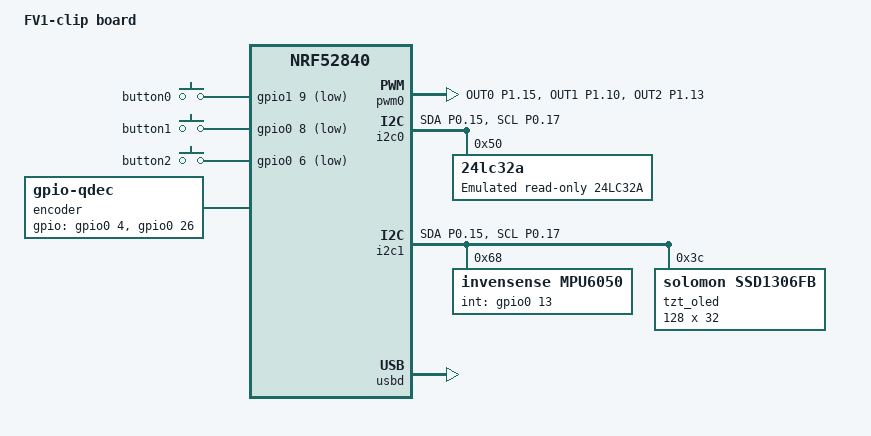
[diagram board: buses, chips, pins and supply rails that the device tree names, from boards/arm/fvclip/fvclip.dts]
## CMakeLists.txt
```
cmake_minimum_required(VERSION 3.20.0)

list(APPEND BOARD_ROOT ${CMAKE_CURRENT_LIST_DIR})
set(BOARD fvclip)

find_package(Zephyr HINTS $ENV{ZEPHYR_BASE})

project(fvctl)

target_sources(app PRIVATE
  fonts/creep.c
  src/main.c
  src/dsp.c
  src/disp.c
  src/serial.c
  src/eeprom.c)
```

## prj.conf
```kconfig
CONFIG_LOG=y
CONFIG_LOG_PRINTK=y

# We use TWIS 0
CONFIG_NRFX_TWIS0=y

CONFIG_ASSERT=y

CONFIG_RING_BUFFER=y
CONFIG_UART_INTERRUPT_DRIVEN=y

## Enable logging (and redirect printk to log output)
CONFIG_LOG=y
CONFIG_LOG_PRINTK=y
CONFIG_LOG_MODE_IMMEDIATE=y

## Free up UART
CONFIG_SERIAL=y
CONFIG_UART_CONSOLE=n
CONFIG_LOG_BACKEND_UART=n

## Enable logging on RTT
CONFIG_LOG_BACKEND_RTT=y
CONFIG_USE_SEGGER_RTT=y
CONFIG_SEGGER_RTT_BUFFER_SIZE_UP=65536
## Always get the latest logs, even if not read yet
CONFIG_LOG_BACKEND_RTT_MODE_OVERWRITE=y

CONFIG_REBOOT=n
# CONFIG_RESET_ON_FATAL_ERROR=n

CONFIG_PWM=y

# Enable USB for UART ROM transfers
CONFIG_SERIAL=y
CONFIG_UART_LINE_CTRL=y
CONFIG_USB_DEVICE_STACK=y
CONFIG_USB_DEVICE_PRODUCT="open-sesame"
CONFIG_USB_DEVICE_PID=0x0004
CONFIG_USB_DEVICE_INITIALIZE_AT_BOOT=n

CONFIG_USB_WORKQUEUE_STACK_SIZE=4096
CONFIG_THREAD_NAME=y

# display test
CONFIG_HEAP_MEM_POOL_SIZE=16384
CONFIG_LOG=y
CONFIG_DISPLAY=y

CONFIG_CHARACTER_FRAMEBUFFER=y

CONFIG_DEBUG=y
CONFIG_NRFX_PPI=y

CONFIG_INPUT=y
CONFIG_INPUT_MODE_SYNCHRONOUS=y

# -> PIXEL_FORMAT_MONO01
# SSD1306 doesn't support that format, but setting
# this config achieves the same thing.
CONFIG_SSD1306_REVERSE_MODE=y
```

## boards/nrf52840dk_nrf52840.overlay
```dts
&pinctrl {
	pwm0_default: pwm0_default {
		group1 {
			psels = <NRF_PSEL(PWM_OUT0, 0, 29)>,
				<NRF_PSEL(PWM_OUT1, 0, 30)>,
				<NRF_PSEL(PWM_OUT2, 0, 31)>;
			/delete-property/ nordic,invert;
		};
	};
};

&pwm0 {
	status = "okay";
	pinctrl-0 = <&pwm0_default>;
	/delete-property/ pinctrl-1;
	pinctrl-names = "default";
};

&uart0 {
	compatible = "nordic,nrf-uarte";
	current-speed = <115200>;
	status = "okay";
	hw-flow-control;
};

&i2c0 {
	compatible = "nordic,nrf-twis";
	status = "okay";

	/* pinctrl macros are waaaay too complicated. */
	sda-pin = <26>;
	scl-pin = <27>;

	eeprom:24lc32a@50 {
		label = "Emulated read-only 24LC32A";
		reg = <0x50>;
	};
};

/ {
	outputs {
		compatible = "gpio-noinit";
		gpio_s0		{gpios = < &gpio1 3 GPIO_ACTIVE_HIGH >;};
		gpio_s1 	{gpios = < &gpio1 4 GPIO_ACTIVE_HIGH >;};
		gpio_s2 	{gpios = < &gpio1 5 GPIO_ACTIVE_HIGH >;};
		gpio_ext	{gpios = < &gpio1 6 GPIO_ACTIVE_HIGH >;};
	};
	inputs {
		compatible = "gpio-noinit";
		gpio_clip {gpios = < &gpio1 7 GPIO_ACTIVE_LOW >;};
	};
	aliases {
		pwm-0 = &pwm0;
	};
};
```

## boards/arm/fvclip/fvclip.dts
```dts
/dts-v1/;
#include <nordic/nrf52840_qiaa.dtsi>
#include <dt-bindings/input/input-event-codes.h>

/ {
	model = "FV1-clip board";
	compatible = "nvl,fvclip";

	chosen {
		zephyr,sram = &sram0;
		zephyr,flash = &flash0;
		zephyr,code-partition = &slot0_partition;
		zephyr,display = &tzt_oled;
	};

	buttons {
		compatible = "gpio-keys";
		status = "okay";
		button0: button_0 {
			/* right */
			gpios = <&gpio1 9 (GPIO_PULL_UP | GPIO_ACTIVE_LOW)>;
			zephyr,code = <INPUT_KEY_0>;
		};
		button1: button_1 {
			/* mid */
			gpios = <&gpio0 8 (GPIO_PULL_UP | GPIO_ACTIVE_LOW)>;
			zephyr,code = <INPUT_KEY_1>;
		};
		button2: button_2 {
			/* left */
			gpios = <&gpio0 6 (GPIO_PULL_UP | GPIO_ACTIVE_LOW)>;
			zephyr,code = <INPUT_KEY_2>;
		};
	};

	encoder {
		compatible = "gpio-qdec";
		status = "okay";
		gpios = <&gpio0 4 (GPIO_PULL_UP | GPIO_ACTIVE_HIGH)>,
			<&gpio0 26 (GPIO_PULL_UP | GPIO_ACTIVE_HIGH)>;
		steps-per-period = <4>;
		zephyr,axis = <INPUT_REL_Y>;
		sample-time-us = <2000>;
		idle-timeout-ms = <200>;
	};

	outputs {
		compatible = "gpio-noinit";
		gpio_s0		{gpios = < &gpio1 2 GPIO_ACTIVE_HIGH >;};
		gpio_s1 	{gpios = < &gpio1 4 GPIO_ACTIVE_HIGH >;};
		gpio_s2 	{gpios = < &gpio1 6 GPIO_ACTIVE_HIGH >;};

		gpio_gain0 	{gpios = < &gpio1 0 GPIO_ACTIVE_HIGH >;};
		gpio_gain1 	{gpios = < &gpio0 24 GPIO_ACTIVE_HIGH >;};

		gpio_dsp_clk 	{gpios = < &gpio0 22 GPIO_ACTIVE_LOW >;};
		gpio_oled_pwr 	{gpios = < &gpio0 20 GPIO_ACTIVE_LOW >;};
		gpio_pa_pwr 	{gpios = < &gpio0 2 GPIO_ACTIVE_HIGH >;};
	};

	inputs {
		compatible = "gpio-noinit";
		gpio_chg {gpios = < &gpio0 12 (GPIO_PULL_UP | GPIO_ACTIVE_LOW) >;};
	};

	aliases {
		pwm-0 = &pwm0;
		sw0 = &button0;
		sw1 = &button1;
		sw2 = &button2;
		mcuboot-button0 = &button0;
		watchdog0 = &wdt0;
	};
};

&gpiote {
	status = "okay";
};

&gpio0 {
	status = "okay";
};

&gpio1 {
	status = "okay";
};

&pwm0 {
	status = "okay";
	pinctrl-0 = <&pwm0_default>;
	/delete-property/ pinctrl-1;
	pinctrl-names = "default";
};

&i2c0 {
	compatible = "nordic,nrf-twis";
	status = "okay";

	/* TODO: use pinctrl DT macros */
	pinctrl-0 = <&i2c1_default>;
	pinctrl-names = "default";

	eeprom:24lc32a@50 {
		label = "Emulated read-only 24LC32A";
		reg = <0x50>;
	};
};

&i2c1 {
	compatible = "nordic,nrf-twim";
	status = "okay";

	pinctrl-0 = <&i2c1_default>;
	pinctrl-names = "default";

	/* Necessary for SSD1306 driver */
	zephyr,concat-buf-size = <1024>;

	mpu6050@68 {
		compatible = "invensense,mpu6050";
		reg = <0x68>;
		status = "okay";
		int-gpios = <&gpio0 13 GPIO_ACTIVE_HIGH>;
	};

	tzt_oled: ssd1306@3c {
		compatible = "solomon,ssd1306fb";
		status = "okay";
		reg = <0x3c>;
		width = <128>;
		height = <32>;
		segment-offset = <0>;
		page-offset = <0>;
		display-offset = <0>;
		multiplex-ratio = <31>;
		/* segment-remap; */
		/* com-invdir; */
		com-sequential;
		prechargep = <0x22>;
	};
};

&flash0 {
	partitions {
		compatible = "fixed-partitions";
		#address-cells = <1>;
		#size-cells = <1>;

		boot_partition: partition@0 {
			label = "mcuboot";
			reg = <0x00000000 0x0000C000>;
		};
		slot0_partition: partition@c000 {
			label = "image-0";
			reg = <0x0000C000 0x00076000>;
		};
		slot1_partition: partition@82000 {
			label = "image-1";
			reg = <0x00082000 0x00076000>;
		};

		/*
		 * The flash starting at 0x000f8000 and ending at
		 * 0x000fffff is reserved for use by the application.
		 */

		/*
		 * Storage partition will be used by FCB/LittleFS/NVS
		 * if enabled.
		 */
		storage_partition: partition@f8000 {
			label = "storage";
			reg = <0x000f8000 0x00008000>;
		};
	};
};

zephyr_udc0: &usbd {
	compatible = "nordic,nrf-usbd";
	status = "okay";

	cdc_acm_uart0: cdc_acm_uart0 {
		compatible = "zephyr,cdc-acm-uart";
	};
};

&pinctrl {
	i2c0_default: i2c0_default {
		group1 {
			psels = <NRF_PSEL(TWIM_SDA, 0, 29)>,
				<NRF_PSEL(TWIM_SCL, 0, 31)>;
			bias-pull-up;
		};
	};

	i2c1_default: i2c1_default {
		group1 {
			psels = <NRF_PSEL(TWIM_SDA, 0, 15)>,
				<NRF_PSEL(TWIM_SCL, 0, 17)>;
			bias-pull-up;
		};
	};

	pwm0_default: pwm0_default {
		group1 {
			/* POT0 and POT1 are swapped on the DSP board */
			psels = <NRF_PSEL(PWM_OUT0, 1, 15)>,
				<NRF_PSEL(PWM_OUT1, 1, 10)>,
				<NRF_PSEL(PWM_OUT2, 1, 13)>;
			/delete-property/ nordic,invert;
		};
	};
};
```

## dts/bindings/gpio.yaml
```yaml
# Needed because DTS rude goldberg machine doesn't work if no compatible is set.
# This way we can use the DT_xx macros, without having driver code messing with
# our pins at startup.

description: GPIO GeNeRaL PuRpOsE binding

compatible: "gpio-noinit"

include: base.yaml

child-binding:
    description: GPIO No-init child node
    properties:
       gpios:
          type: phandle-array
          required: true
       label:
          type: string
          description: Descriptive name of the IO pin
```

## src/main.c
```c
#include <errno.h>
#include <string.h>
#include <stdio.h>

#include <zephyr/kernel.h>
#include <zephyr/device.h>
#include <zephyr/input/input.h>
#include <zephyr/sys/ring_buffer.h>

#include <zephyr/drivers/gpio.h>
#include <zephyr/drivers/uart.h>

#include <zephyr/usb/usbd.h>
#include <zephyr/usb/usb_device.h>

#include "dsp.h"
#include "eeprom.h"
#include "serial.h"
#include "utils.h"
#include "view.h"

#include <zephyr/logging/log.h>
LOG_MODULE_REGISTER(main, 3);

static struct viewstate vs = {.program = 07,
.active = 1,
.values[0] = 10,
.values[1] = 20,
.values[2] = 30,
.names = {"par 0", "par 1", "par 2"}};

static void init_pa(void)
{
	uint32_t out_flags = GPIO_OUTPUT;

	/* enable output audio driver */
	gpio_pin_configure(PORT_PIN(outputs, gpio_pa_pwr), out_flags);
	gpio_pin_set(PORT_PIN(outputs, gpio_pa_pwr), 0);
}

static void next_program(int increment)
{
	vs.program += increment;
	if (vs.program > 99) vs.program = 99;
	if (vs.program < 0) vs.program = 0;

	dsp_select_program(vs.program);
}

static void next_param(void)
{
	vs.active++;
	/* overflow's a good thing, right? */
	if (vs.active > 2) vs.active = 0xFF;
}

static void tune_param(int increment)
{
	if (vs.active == 0xFF) return; /* no active param */

	int8_t *param = &vs.values[vs.active];

	*param += increment;
	if (*param > 99) *param = 99;
	if (*param < 0) *param = 0;

	dsp_set_pwm_channel(vs.active, *param * 10);
}

static void input_cb(struct input_event *evt)
{
	LOG_DBG("%s: sync %u type %u code 0x%x value %d", __func__,
		evt->sync, evt->type, evt->code, evt->value);

	/* encoder */
	if (evt->code == INPUT_REL_Y) {
		tune_param(evt->value);
	}

	/* right */
	if (evt->code == INPUT_KEY_0 && evt->value) {
		next_program(+1);
	}

	/* left */
	if (evt->code == INPUT_KEY_2 && evt->value) {
		next_program(-1);
	}

	/* mid */
	if (evt->code == INPUT_KEY_1 && evt->value) {
		next_param();
	}

	draw_view(&vs);
}

/* Invoke callback for all input devices */
INPUT_CALLBACK_DEFINE(NULL, input_cb);

void main(void)
{
	if (usb_enable(NULL)) {
		LOG_ERR("failed to enable USB");
		return;
	}

	LOG_INF("Bootup");

	init_dsp();
	init_pa();
	serial_init();

	view_init();
	draw_view(&vs);
}
```

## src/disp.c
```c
#include <zephyr/kernel.h>
#include <zephyr/device.h>
#include <zephyr/drivers/gpio.h>
#include <zephyr/display/cfb.h>
#include <stdio.h>

#include "view.h"
#include "utils.h"

#include <zephyr/logging/log.h>
LOG_MODULE_REGISTER(disp, 3);

void view_init(void)
{
	const struct device *dev =
		DEVICE_DT_GET(DT_CHOSEN(zephyr_display));

	if (!device_is_ready(dev)) {
		LOG_ERR("Device %s not ready", dev->name);
		k_oops();
	}

	if (display_set_pixel_format(dev, PIXEL_FORMAT_MONO10) != 0) {
		LOG_ERR("Failed to set required pixel format");
		k_oops();
	}

	if (cfb_framebuffer_init(dev)) {
		LOG_ERR("Framebuffer initialization failed!");
		k_oops();
	}

	display_blanking_off(dev);

	printk("VIEW INIT OK\n");
}

enum {
	FONT_TINY = 0,
	FONT_SMALL,
	FONT_MEDIUM,
	FONT_LARGE
};

void draw_view(struct viewstate *state)
{
	LOG_DBG("");
	char str[20];
	const struct device *dev =
		DEVICE_DT_GET(DT_CHOSEN(zephyr_display));

	cfb_framebuffer_clear(dev, false);

	/* Draw program ID */
	cfb_framebuffer_set_font(dev, FONT_LARGE);
	sprintf(str, "%02d", state->program);
	cfb_print(dev, str, 0, 0);

	/* Draw params */
	cfb_framebuffer_set_font(dev, FONT_TINY);
	for (int i=0; i<3; i++) {
		sprintf(str, "%s: %02u", &state->names[i][0], state->values[i]);
		cfb_draw_text(dev, str, 50, i * 10);
	}

	uint8_t w, h;
	cfb_get_font_size(dev, FONT_TINY, &w, &h);

	/* invert active param */
	if (state->active != 0xFF) {
		cfb_invert_area(dev, 50, state->active * 10, 128 - 50, h-4);
	}

	/* Flush buffer to display */
	cfb_framebuffer_finalize(dev);

	LOG_DBG("updated");
}

static int enable_disp(void)
{
	/* Power-cycle the display and its driver */
	gpio_pin_configure(PORT_PIN(outputs, gpio_oled_pwr), GPIO_OUTPUT);
	gpio_pin_set(PORT_PIN(outputs, gpio_oled_pwr), 1);

	k_msleep(50);

	gpio_pin_configure(PORT_PIN(outputs, gpio_oled_pwr), GPIO_OUTPUT);
	gpio_pin_set(PORT_PIN(outputs, gpio_oled_pwr), 0);

	k_msleep(50);

	return 0;
}

/* power the display before driver inits */
#define DISPLAY_POWER_INIT_PRIORITY 70

BUILD_ASSERT(CONFIG_DISPLAY_INIT_PRIORITY > DISPLAY_POWER_INIT_PRIORITY);

/* would the `reset` dts property do the trick? */
SYS_INIT(enable_disp, POST_KERNEL, DISPLAY_POWER_INIT_PRIORITY);
```

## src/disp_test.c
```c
/*
 * Copyright (c) 2018 PHYTEC Messtechnik GmbH
 *
 * SPDX-License-Identifier: Apache-2.0
 */

#include <zephyr/kernel.h>
#include <zephyr/device.h>
#include <zephyr/display/cfb.h>
#include <stdio.h>

int disp_test(void)
{
	const struct device *dev;
	uint16_t rows;
	uint8_t ppt;
	uint8_t font_width;
	uint8_t font_height;

	dev = DEVICE_DT_GET(DT_CHOSEN(zephyr_display));
	if (!device_is_ready(dev)) {
		printf("Device %s not ready\n", dev->name);
		return 0;
	}

	if (display_set_pixel_format(dev, PIXEL_FORMAT_MONO10) != 0) {
		printf("Failed to set required pixel format\n");
		return 0;
	}

	printf("Initialized %s\n", dev->name);

	if (cfb_framebuffer_init(dev)) {
		printf("Framebuffer initialization failed!\n");
		return 0;
	}

	cfb_framebuffer_clear(dev, true);

	display_blanking_off(dev);

	rows = cfb_get_display_parameter(dev, CFB_DISPLAY_ROWS);
	ppt = cfb_get_display_parameter(dev, CFB_DISPLAY_PPT);

	for (int idx = 0; idx < 42; idx++) {
		if (cfb_get_font_size(dev, idx, &font_width, &font_height)) {
			break;
		}
		cfb_framebuffer_set_font(dev, idx);
		printf("font width %d, font height %d\n",
		       font_width, font_height);
	}

	printf("x_res %d, y_res %d, ppt %d, rows %d, cols %d\n",
	       cfb_get_display_parameter(dev, CFB_DISPLAY_WIDTH),
	       cfb_get_display_parameter(dev, CFB_DISPLAY_HEIGH),
	       ppt,
	       rows,
	       cfb_get_display_parameter(dev, CFB_DISPLAY_COLS));

	while (1) {
		for (int i = 0; i < rows; i++) {
			cfb_framebuffer_clear(dev, false);
			if (cfb_print(dev,
				      "0123456789mMgj!\"§$%&/()=",
				      0, i * ppt)) {
				printf("Failed to print a string\n");
				continue;
			}

			cfb_framebuffer_finalize(dev);
#if defined(CONFIG_ARCH_POSIX)
			k_sleep(K_MSEC(100));
#endif
		}
	}
	return 0;
}
```

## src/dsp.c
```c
#include <zephyr/kernel.h>
#include <zephyr/device.h>
#include <zephyr/sys/ring_buffer.h>

#include <zephyr/drivers/gpio.h>
#include <zephyr/drivers/pwm.h>

#include <nrfx_ppi.h>
#include <nrfx_gpiote.h>

#include "dsp.h"
#include "utils.h"
#include "eeprom.h"
#include "rom.h"

#include <zephyr/logging/log.h>
LOG_MODULE_REGISTER(dsp, 4);

#define FV1_PGM_SIZE 512
static uint8_t programs[10][FV1_PGM_SIZE];
static uint8_t active_id;

enum {
	PGM_BUILTIN = 0,
	PGM_EXTERNAL,
};

static void setup_dsp_clock(void)
{
	#define FVCLKPIN 22	/* P0.22 -> DSP GP5 -> FV1 X1 */
	#define MYTIMER NRF_TIMER3 /* Hopefully free? */
	#define CLK_HP_US 26   /* ~19kHz TODO: increase */
	#define GPIOTE_CH_INVALID 0xFF
	#define PPI_CH_INVALID 0xFF

	/* Use TIMER + PPI + GPIOTE to synthesize a 48kHz clock on DSP GP5. We
	 * have to play ball and use the HAL allocation fns for PPI / GPIOTE
	 * since we're running in an RTOS.
	 */

	/* step 1: configure TIMER */
	MYTIMER->BITMODE = 0;           /* 16-bit width */
	MYTIMER->PRESCALER = 4;         /* 1 MHz - 1 us */
	MYTIMER->MODE = 0;              /* Timer mode */
	MYTIMER->SHORTS = 1 << 0; /* CC[0] resets the timer value */
	MYTIMER->CC[0] = CLK_HP_US; /* one tick = half clock cycle */

	/* step 2: configure GPIOTE */
	uint8_t gch = GPIOTE_CH_INVALID;
	uint32_t err = nrfx_gpiote_channel_alloc(&gch);
	__ASSERT_NO_MSG(err == NRFX_SUCCESS);
	__ASSERT_NO_MSG(gch != GPIOTE_CH_INVALID);
	NRF_GPIOTE->CONFIG[gch] = 3; /* Task mode */
	NRF_GPIOTE->CONFIG[gch] |= FVCLKPIN << 8;
	NRF_GPIOTE->CONFIG[gch] |= 0 << 13; /* Port 0 (line not necessary for P0) */
	NRF_GPIOTE->CONFIG[gch] |= 3 << 16; /* Toggle pin on TASKS_OUT */
	NRF_GPIOTE->CONFIG[gch] |= 0 << 20; /* Initial pin value is LOW */

	/* step 3: configure PPI link */
	uint8_t pch = PPI_CH_INVALID;
	err = nrfx_ppi_channel_alloc(&pch);
	__ASSERT_NO_MSG(err == NRFX_SUCCESS);
	__ASSERT_NO_MSG(pch != PPI_CH_INVALID);

	NRF_PPI->CH[pch].EEP = (uint32_t)&MYTIMER->EVENTS_COMPARE[0];
	NRF_PPI->CH[pch].TEP = (uint32_t)&NRF_GPIOTE->TASKS_OUT[gch];
	NRF_PPI->CHENSET = 1 << pch;

	/* step 4: start the timer and output clock on pin */
	MYTIMER->TASKS_CLEAR = 1;
	MYTIMER->TASKS_START = 1;
}

static void init_gpios(void)
{
	uint32_t out_flags = GPIO_OUTPUT;

	/* configure FV-1 program selector pins */
	gpio_pin_configure(PORT_PIN(outputs, gpio_s0), out_flags);
	gpio_pin_configure(PORT_PIN(outputs, gpio_s1), out_flags);
	gpio_pin_configure(PORT_PIN(outputs, gpio_s2), out_flags);
}

void dsp_set_pwm_channel(uint8_t ch, uint16_t val)
{
	const struct device *pwm_dev = DEVICE_DT_GET(DT_ALIAS(pwm_0));
	uint32_t period = 1024;	/* 10-bit DAC */

	val = MIN(val, period);
	ch = MIN(ch, 2);

	pwm_set(pwm_dev, ch, PWM_NSEC(period * 10), PWM_NSEC(val * 10), 0);
	LOG_DBG("set pwm[%d]: %d", ch, val);
}

static void init_pwm(void)
{
	dsp_set_pwm_channel(0, 0);
	dsp_set_pwm_channel(1, 0);
	dsp_set_pwm_channel(2, 0);
}

void dsp_set_pot_values(struct ring_buf *ringbuf, uint16_t len)
{
	char tmp[6] = {0};

	len = MIN(len, sizeof(tmp));
	ring_buf_get(ringbuf, tmp, len);

	__ASSERT(len == 6, "wrong length");

	dsp_set_pwm_channel(0, (tmp[0] << 8) + tmp[1]);
	dsp_set_pwm_channel(1, (tmp[2] << 8) + tmp[3]);
	dsp_set_pwm_channel(2, (tmp[4] << 8) + tmp[5]);

	LOG_HEXDUMP_DBG(tmp, sizeof(tmp), "pot values");
}

static void select_rom_slot(uint8_t id)
{
	if (id > 7) {
		LOG_ERR("Program ID out of bounds (> 7)");
		return;
	}

	LOG_INF("select program %u", id);
	gpio_pin_set(PORT_PIN(outputs, gpio_s0), id & 1);
	gpio_pin_set(PORT_PIN(outputs, gpio_s1), id & 2);
	gpio_pin_set(PORT_PIN(outputs, gpio_s2), id & 4);
}

static inline void pad_program(uint8_t * rom_addr, uint16_t pad_bytes)
{
	if (pad_bytes == 0) {
		LOG_INF("skip padding");
		return;
	}

	uint8_t * end_addr = rom_addr + pad_bytes;
	uint8_t nop[4] = {0x0, 0x0, 0x0, 0x11};

	while (rom_addr < end_addr) {
		memcpy(rom_addr, nop, sizeof(nop));
		rom_addr += 4;
	}
	LOG_INF("padded %u bytes", pad_bytes);
}

static void load_program(uint8_t * data)
{
	/* This ID shuffling is just make the FV-1 read the new ROM */
	uint8_t id = active_id ? 0 : 1;
	active_id = id;

	LOG_INF("loading %p", (void*)data);

	/* Tell EEPROM emulator to use the new bank */
	init_eeprom(data, FV1_PGM_SIZE);

	/* Trigger a reload from the FV-1 */
	select_rom_slot(active_id);
	LOG_INF("program downloaded");
	/* That's not really true, it's downloaded later over I2C */
}

void dsp_load_from_serial(struct ring_buf *ringbuf, uint16_t len)
{
	/* Saturate length to dest buffer */
	len = MIN(len, FV1_PGM_SIZE);

	/* first byte is destination slot */
	uint8_t index;
	ring_buf_get(ringbuf, &index, 1);
	__ASSERT_NO_MSG(index < 10);

	/* TODO: protect with sem/mutex */
	uint8_t *program = &programs[index][0];

	/* TODO: add two opcodes:
	 * - load-raw: load raw program data as current program
	 * - load: load prog, with metadata:
	 *   - parameter names
	 *   - parameter default values
	 *   - program name
	 *   - destination slot
	 */
	LOG_DBG("store ringbuf idx %u len %u splen %u", index, len, FV1_PGM_SIZE);
	ring_buf_get(ringbuf, program, len);
	pad_program(&program[len], FV1_PGM_SIZE - len);

	load_program(program);

	LOG_HEXDUMP_DBG(program, FV1_PGM_SIZE, "RAW ROM");
}

void dsp_select_program(uint8_t id)
{
	if (id > 9) return;

	load_program(&programs[id][0]);
}

static void load_default_programs(void)
{
	memcpy(&programs[0][0], samples_00, FV1_PGM_SIZE);
	memcpy(&programs[1][0], samples_01, FV1_PGM_SIZE);
	memcpy(&programs[2][0], samples_02, FV1_PGM_SIZE);
	memcpy(&programs[3][0], samples_03, FV1_PGM_SIZE);
	memcpy(&programs[4][0], samples_04, FV1_PGM_SIZE);
	memcpy(&programs[5][0], samples_05, FV1_PGM_SIZE);
	memcpy(&programs[6][0], samples_06, FV1_PGM_SIZE);
	memcpy(&programs[7][0], samples_07, FV1_PGM_SIZE);
}

void init_dsp(void)
{
	LOG_DBG("");

	load_default_programs();

	init_pwm();
	init_gpios();

	init_i2c();

	/* prepare the ROM buffer that the FV1 will read on boot */
	load_program((uint8_t *)samples_00);

	setup_dsp_clock();
	k_msleep(50);

	LOG_INF("DSP init ok");
}
```

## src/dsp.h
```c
#ifndef DSP_H_
#define DSP_H_

void init_dsp(void);
void dsp_load_from_serial(struct ring_buf *ringbuf, uint16_t len);
void dsp_set_pot_values(struct ring_buf *ringbuf, uint16_t len);
void dsp_select_program(uint8_t id);
void dsp_set_pwm_channel(uint8_t ch, uint16_t val);

#endif // DSP_H_
```

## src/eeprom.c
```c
#include <zephyr/device.h>
#include <nrfx_twis.h>

#include "eeprom.h"

#include <zephyr/logging/log.h>
LOG_MODULE_REGISTER(eeprom, 4);

struct fakerom {
	uint16_t addr;
	uint16_t size;
	uint8_t* data;
};

static struct fakerom rom;

/* Should match master's buffer size */
static unsigned char twis_rx_buffer[8];
const nrfx_twis_t twis_instance = NRFX_TWIS_INSTANCE(0);

void i2c_set_tx(uint8_t *buf, uint16_t len)
{
	LOG_DBG("set TX: buf %p len %u", (void*)buf, len);
	(void)nrfx_twis_tx_prepare(&twis_instance, buf, len);
}

static void twis_event_handler(nrfx_twis_evt_t const *const p_event)
{
	switch (p_event->type) {

	case NRFX_TWIS_EVT_READ_REQ:
		/* This case shouldn't be needed at all. It is only called if no
		 * buffers are ready when a read request comes in.
		 */
		if (p_event->data.buf_req) {
			/* When we get here, it's too late, FV1 will have failed to read the
			 * program and will just hang until the next transaction. */
			LOG_ERR("Ran out of TX data, reset addr to 0x00");
			i2c_set_tx(rom.data, rom.size);
		}
		break;

	case NRFX_TWIS_EVT_READ_DONE:
		LOG_DBG("TWIS READ done (%u bytes)", p_event->data.tx_amount);
		break;

	case NRFX_TWIS_EVT_WRITE_REQ:
		/* Ditto with READ_REQ. */
		if (p_event->data.buf_req) {
			(void)nrfx_twis_rx_prepare(&twis_instance,
						   twis_rx_buffer,
						   sizeof(twis_rx_buffer));
		}
		break;

	case NRFX_TWIS_EVT_WRITE_DONE:
		LOG_DBG("TWIS WRITE done (%u bytes)", p_event->data.rx_amount);
		break;

	case NRFX_TWIS_EVT_READ_ERROR:
		LOG_DBG("TWIS READ ERROR");
		break;

	case NRFX_TWIS_EVT_WRITE_ERROR:
		LOG_DBG("TWIS WRITE ERROR");
		break;

	case NRFX_TWIS_EVT_GENERAL_ERROR:
		LOG_DBG("TWIS GENERAL ERROR");
		break;

	default:
		LOG_ERR("Unhandled TWI event");
		break;
	}
}

void init_i2c()
{
	nrfx_twis_config_t twis_config;

	memset(&twis_config, 0, sizeof(twis_config));

	twis_config.addr[0] = DT_REG_ADDR(DT_NODELABEL(eeprom));

	/* TODO: don't hardcode values, use pinctrl + DT macros */
	twis_config.scl_pin = 31;
	twis_config.scl_pull = NRF_GPIO_PIN_PULLUP;

	twis_config.sda_pin = 29;
	twis_config.sda_pull = NRF_GPIO_PIN_PULLUP;

	twis_config.interrupt_priority = DT_IRQ(DT_NODELABEL(i2c0), priority);

	LOG_DBG("I2C Slave: ADDR: 0x%x, SCL: %u, SDA: %u, int_pri: %u",
	       twis_config.addr[0], twis_config.scl_pin, twis_config.sda_pin, twis_config.interrupt_priority);

	if (nrfx_twis_init(&twis_instance, &twis_config, twis_event_handler) == NRFX_SUCCESS) {
		LOG_DBG("nrfx TWIS initialized.");
	} else {
		LOG_DBG("failed initializing TWIS");
	}

	IRQ_CONNECT(DT_IRQN(DT_NODELABEL(i2c0)),
		    DT_IRQ(DT_NODELABEL(i2c0), priority),
		    nrfx_isr, nrfx_twis_0_irq_handler, 0);

	nrfx_twis_enable(&twis_instance);

	/* RX buffer always points to the same thing. */
	(void)nrfx_twis_rx_prepare(&twis_instance, twis_rx_buffer, sizeof(twis_rx_buffer));
}

void init_eeprom(uint8_t *buf, uint16_t size)
{
	rom.addr = 0;
	rom.size = size;
	rom.data = buf;

	/* Make the next read request read from the first EEPROM address. */
	i2c_set_tx(rom.data, rom.size);

	LOG_INF("eeprom init ok");
}
```

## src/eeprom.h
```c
#ifndef EEPROM_H_
#define EEPROM_H_

void init_i2c(void);
void init_eeprom(uint8_t *buf, uint16_t size);

#endif // EEPROM_H_
```

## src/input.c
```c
#include <zephyr/kernel.h>
#include <zephyr/device.h>
#include <zephyr/input/input.h>

#include "view.h"

#include <zephyr/logging/log.h>
LOG_MODULE_REGISTER(in, 4);

static struct viewstate vs = {.program = 07,
.active = 1,
.values[0] = 10,
.values[1] = 20,
.values[2] = 30,
.names = {"par 0", "par 1", "par 2"}};

static void encoder_cb(struct input_event *evt)
{
	/* input_app: encoder_cb: sync 1 type 2 code 0x1 value 1
	 * -> value = -1 in opposite direction
	 */
	LOG_ERR("%s: sync %u type %u code 0x%x value %d", __func__,
		evt->sync, evt->type, evt->code, evt->value);

	vs.program += evt->value;
	if (vs.program > 99) vs.program = 99;
	if (vs.program < 0) vs.program = 0;

	draw_view(&vs);
}

INPUT_CALLBACK_DEFINE(DEVICE_DT_GET(DT_PATH(encoder)), encoder_cb);

static void button_cb(struct input_event *evt)
{
	LOG_ERR("%s: sync %u type %u code 0x%x value %d", __func__,
		evt->sync, evt->type, evt->code, evt->value);

	/* vs.program += evt->value; */
	/* if (vs.program > 99) vs.program = 99; */
	/* if (vs.program < 0) vs.program = 0; */

	/* draw_view(&vs); */
}

INPUT_CALLBACK_DEFINE(DEVICE_DT_GET(DT_PATH(buttons)), button_cb);
```

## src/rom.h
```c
#ifndef ROM_H_
#define ROM_H_

const uint8_t samples_00[] = {
0x80,0x20,0x00,0x11,
0x40,0x00,0x00,0x12,
0x40,0x00,0x02,0x84,
0x00,0x00,0x00,0x02,
0x40,0x00,0x02,0xA4,
0x00,0x02,0x00,0x22,
0x06,0x40,0x00,0x14,
0x00,0x40,0x00,0x34,
0x00,0x04,0x00,0x42,
0x14,0x40,0x00,0x14,
0x10,0x40,0x00,0x34,
0xA4,0x40,0x00,0x14,
0x20,0x44,0x00,0x54,
0x00,0x00,0x02,0xC6,
0x04,0x42,0x00,0x34,
0x00,0x42,0x00,0x54,
0x00,0x04,0x00,0x42,
0x14,0x42,0x00,0x34,
0x10,0x42,0x00,0x54,
0xA4,0x40,0x00,0x14,
0x20,0x44,0x00,0x54,
0x00,0x00,0x02,0xE6,
0x40,0x00,0x02,0x04,
0x10,0x00,0xF0,0x0D,
0x01,0x47,0x04,0x05,
0x40,0x00,0x04,0x06,
0x00,0x00,0x00,0x86,
0x00,0x00,0x00,0x11,
0x00,0x00,0x00,0x11,
0x00,0x00,0x00,0x11,
0x00,0x00,0x00,0x11,
0x00,0x00,0x00,0x11,
0x00,0x00,0x00,0x11,
0x00,0x00,0x00,0x11,
0x00,0x00,0x00,0x11,
0x00,0x00,0x00,0x11,
0x00,0x00,0x00,0x11,
0x00,0x00,0x00,0x11,
0x00,0x00,0x00,0x11,
0x00,0x00,0x00,0x11,
0x00,0x00,0x00,0x11,
0x00,0x00,0x00,0x11,
0x00,0x00,0x00,0x11,
0x00,0x00,0x00,0x11,
0x00,0x00,0x00,0x11,
0x00,0x00,0x00,0x11,
0x00,0x00,0x00,0x11,
0x00,0x00,0x00,0x11,
0x00,0x00,0x00,0x11,
0x00,0x00,0x00,0x11,
0x00,0x00,0x00,0x11,
0x00,0x00,0x00,0x11,
0x00,0x00,0x00,0x11,
0x00,0x00,0x00,0x11,
0x00,0x00,0x00,0x11,
0x00,0x00,0x00,0x11,
0x00,0x00,0x00,0x11,
0x00,0x00,0x00,0x11,
0x00,0x00,0x00,0x11,
0x00,0x00,0x00,0x11,
0x00,0x00,0x00,0x11,
0x00,0x00,0x00,0x11,
0x00,0x00,0x00,0x11,
0x00,0x00,0x00,0x11,
0x00,0x00,0x00,0x11,
0x00,0x00,0x00,0x11,
0x00,0x00,0x00,0x11,
0x00,0x00,0x00,0x11,
0x00,0x00,0x00,0x11,
0x00,0x00,0x00,0x11,
0x00,0x00,0x00,0x11,
0x00,0x00,0x00,0x11,
0x00,0x00,0x00,0x11,
0x00,0x00,0x00,0x11,
0x00,0x00,0x00,0x11,
0x00,0x00,0x00,0x11,
0x00,0x00,0x00,0x11,
0x00,0x00,0x00,0x11,
0x00,0x00,0x00,0x11,
0x00,0x00,0x00,0x11,
0x00,0x00,0x00,0x11,
0x00,0x00,0x00,0x11,
0x00,0x00,0x00,0x11,
0x00,0x00,0x00,0x11,
0x00,0x00,0x00,0x11,
0x00,0x00,0x00,0x11,
0x00,0x00,0x00,0x11,
0x00,0x00,0x00,0x11,
0x00,0x00,0x00,0x11,
0x00,0x00,0x00,0x11,
0x00,0x00,0x00,0x11,
0x00,0x00,0x00,0x11,
0x00,0x00,0x00,0x11,
0x00,0x00,0x00,0x11,
0x00,0x00,0x00,0x11,
0x00,0x00,0x00,0x11,
0x00,0x00,0x00,0x11,
0x00,0x00,0x00,0x11,
0x00,0x00,0x00,0x11,
0x00,0x00,0x00,0x11,
0x00,0x00,0x00,0x11,
0x00,0x00,0x00,0x11,
0x00,0x00,0x00,0x11,
0x00,0x00,0x00,0x11,
0x00,0x00,0x00,0x11,
0x00,0x00,0x00,0x11,
0x00,0x00,0x00,0x11,
0x00,0x00,0x00,0x11,
0x00,0x00,0x00,0x11,
0x00,0x00,0x00,0x11,
0x00,0x00,0x00,0x11,
0x00,0x00,0x00,0x11,
0x00,0x00,0x00,0x11,
0x00,0x00,0x00,0x11,
0x00,0x00,0x00,0x11,
0x00,0x00,0x00,0x11,
0x00,0x00,0x00,0x11,
0x00,0x00,0x00,0x11,
0x00,0x00,0x00,0x11,
0x00,0x00,0x00,0x11,
0x00,0x00,0x00,0x11,
0x00,0x00,0x00,0x11,
0x00,0x00,0x00,0x11,
0x00,0x00,0x00,0x11,
0x00,0x00,0x00,0x11,
0x00,0x00,0x00,0x11,
0x00,0x00,0x00,0x11,
0x00,0x00,0x00,0x11,
};
const uint8_t samples_01[] = {
0x80,0x20,0x00,0x11,
0x40,0x00,0x00,0x12,
0x40,0x00,0x02,0x04,
0x10,0x00,0xF0,0x0D,
0x01,0x47,0x04,0x05,
0x40,0x00,0x04,0x06,
0x00,0x00,0x00,0x86,
0x40,0x00,0x02,0x84,
0x00,0x00,0x00,0x02,
0x06,0x40,0x00,0x14,
0x00,0x40,0x00,0x34,
0x00,0x02,0x00,0x22,
0x14,0x40,0x00,0x14,
0x10,0x40,0x00,0x34,
0xA4,0x40,0x00,0x14,
0x20,0x42,0x00,0x34,
0x00,0x00,0x02,0xC6,
0x31,0xB5,0x00,0x0F,
0x00,0x00,0x02,0x2A,
0x00,0x00,0x04,0x26,
0x23,0x35,0x00,0x0F,
0x40,0x00,0x04,0x24,
0x01,0x47,0x04,0x45,
0x40,0x00,0x04,0x46,
0x00,0x00,0x03,0x06,
0x40,0x00,0x00,0x01,
0x00,0x00,0x02,0x4A,
0x40,0x00,0x02,0xA4,
0x00,0x00,0x02,0xE6,
0x10,0x00,0x00,0x01,
0x40,0x00,0x02,0xA4,
0x00,0x02,0x00,0x62,
0x00,0x00,0x00,0x11,
0x00,0x00,0x00,0x11,
0x00,0x00,0x00,0x11,
0x00,0x00,0x00,0x11,
0x00,0x00,0x00,0x11,
0x00,0x00,0x00,0x11,
0x00,0x00,0x00,0x11,
0x00,0x00,0x00,0x11,
0x00,0x00,0x00,0x11,
0x00,0x00,0x00,0x11,
0x00,0x00,0x00,0x11,
0x00,0x00,0x00,0x11,
0x00,0x00,0x00,0x11,
0x00,0x00,0x00,0x11,
0x00,0x00,0x00,0x11,
0x00,0x00,0x00,0x11,
0x00,0x00,0x00,0x11,
0x00,0x00,0x00,0x11,
0x00,0x00,0x00,0x11,
0x00,0x00,0x00,0x11,
0x00,0x00,0x00,0x11,
0x00,0x00,0x00,0x11,
0x00,0x00,0x00,0x11,
0x00,0x00,0x00,0x11,
0x00,0x00,0x00,0x11,
0x00,0x00,0x00,0x11,
0x00,0x00,0x00,0x11,
0x00,0x00,0x00,0x11,
0x00,0x00,0x00,0x11,
0x00,0x00,0x00,0x11,
0x00,0x00,0x00,0x11,
0x00,0x00,0x00,0x11,
0x00,0x00,0x00,0x11,
0x00,0x00,0x00,0x11,
0x00,0x00,0x00,0x11,
0x00,0x00,0x00,0x11,
0x00,0x00,0x00,0x11,
0x00,0x00,0x00,0x11,
0x00,0x00,0x00,0x11,
0x00,0x00,0x00,0x11,
0x00,0x00,0x00,0x11,
0x00,0x00,0x00,0x11,
0x00,0x00,0x00,0x11,
0x00,0x00,0x00,0x11,
0x00,0x00,0x00,0x11,
0x00,0x00,0x00,0x11,
0x00,0x00,0x00,0x11,
0x00,0x00,0x00,0x11,
0x00,0x00,0x00,0x11,
0x00,0x00,0x00,0x11,
0x00,0x00,0x00,0x11,
0x00,0x00,0x00,0x11,
0x00,0x00,0x00,0x11,
0x00,0x00,0x00,0x11,
0x00,0x00,0x00,0x11,
0x00,0x00,0x00,0x11,
0x00,0x00,0x00,0x11,
0x00,0x00,0x00,0x11,
0x00,0x00,0x00,0x11,
0x00,0x00,0x00,0x11,
0x00,0x00,0x00,0x11,
0x00,0x00,0x00,0x11,
0x00,0x00,0x00,0x11,
0x00,0x00,0x00,0x11,
0x00,0x00,0x00,0x11,
0x00,0x00,0x00,0x11,
0x00,0x00,0x00,0x11,
0x00,0x00,0x00,0x11,
0x00,0x00,0x00,0x11,
0x00,0x00,0x00,0x11,
0x00,0x00,0x00,0x11,
0x00,0x00,0x00,0x11,
0x00,0x00,0x00,0x11,
0x00,0x00,0x00,0x11,
0x00,0x00,0x00,0x11,
0x00,0x00,0x00,0x11,
0x00,0x00,0x00,0x11,
0x00,0x00,0x00,0x11,
0x00,0x00,0x00,0x11,
0x00,0x00,0x00,0x11,
0x00,0x00,0x00,0x11,
0x00,0x00,0x00,0x11,
0x00,0x00,0x00,0x11,
0x00,0x00,0x00,0x11,
0x00,0x00,0x00,0x11,
0x00,0x00,0x00,0x11,
0x00,0x00,0x00,0x11,
0x00,0x00,0x00,0x11,
0x00,0x00,0x00,0x11,
0x00,0x00,0x00,0x11,
0x00,0x00,0x00,0x11,
0x00,0x00,0x00,0x11,
0x00,0x00,0x00,0x11,
0x00,0x00,0x00,0x11,
0x00,0x00,0x00,0x11,
0x00,0x00,0x00,0x11,
};
const uint8_t samples_02[] = {
0x80,0x40,0x00,0x11,
0x00,0xC0,0x14,0x12,
0x20,0xC0,0xBB,0x92,
0x7F,0xFE,0x02,0x44,
0x7F,0xFE,0x00,0x0D,
0x00,0x20,0x00,0x0D,
0x3F,0xDF,0x04,0xA4,
0x00,0x00,0x04,0xA6,
0x03,0x33,0x02,0x44,
0x00,0x20,0x00,0x0D,
0x3F,0xDF,0x04,0x64,
0x00,0x00,0x04,0x66,
0x40,0x00,0x02,0x24,
0x00,0x00,0x02,0x2A,
0x00,0x00,0x02,0x2A,
0x13,0x33,0x01,0x4D,
0x00,0x00,0x00,0xC6,
0x40,0x00,0x02,0x24,
0xE0,0x00,0x7F,0xCD,
0x40,0x00,0x04,0xC6,
0x00,0x00,0x04,0xCA,
0x00,0x00,0x04,0xCA,
0x00,0x00,0x04,0xCA,
0x00,0x00,0x04,0x6A,
0x00,0x20,0x00,0x0D,
0x3F,0xDF,0x04,0x84,
0x40,0x00,0x04,0x86,
0x00,0x00,0x00,0xE6,
0x20,0x00,0x02,0x84,
0x20,0x00,0x02,0xA4,
0x40,0x00,0x04,0x06,
0x00,0x00,0x00,0x02,
0x06,0x20,0x7D,0x14,
0x00,0x20,0x7D,0x34,
0x00,0x00,0x04,0xAA,
0x40,0x00,0x04,0x04,
0x00,0x00,0x04,0x26,
0x06,0x01,0x90,0x54,
0x00,0x01,0x90,0x74,
0x00,0x01,0x96,0x82,
0x07,0x03,0x3B,0x54,
0x01,0x03,0x3B,0x74,
0x00,0x03,0x41,0x82,
0x0E,0x05,0x04,0x94,
0x08,0x05,0x04,0xB4,
0x00,0x05,0x0A,0xC2,
0x0F,0x07,0x1F,0x14,
0x09,0x07,0x1F,0x34,
0x00,0x07,0x25,0x42,
0x20,0x00,0x04,0x24,
0xD9,0xA1,0x0C,0xE0,
0x26,0x60,0xFA,0x23,
0xD9,0xA1,0x28,0xA0,
0x26,0x61,0x0D,0x03,
0xD9,0xA1,0x53,0xE0,
0x26,0x61,0x28,0xC3,
0xD9,0xA1,0x89,0xE0,
0x26,0x61,0x54,0x03,
0x00,0x00,0x04,0x46,
0x19,0x8F,0x2F,0x20,
0xD9,0xA2,0x1A,0xA0,
0x26,0x61,0x8A,0x03,
0xD3,0x43,0x34,0xE0,
0x2C,0xC2,0x1A,0xC3,
0x20,0x00,0x04,0x44,
0x00,0x08,0x77,0x22,
0x19,0x89,0x87,0xA0,
0xD9,0xA4,0x2C,0x40,
0x26,0x63,0x35,0x03,
0xD3,0x44,0xFE,0x20,
0x2C,0xC4,0x2C,0x63,
0x20,0x00,0x04,0x44,
0x00,0x09,0x87,0xC2,
0x19,0x8B,0x76,0x40,
0xD9,0xA5,0xE5,0x80,
0x26,0x64,0xFE,0x43,
0xD3,0x47,0x18,0xA0,
0x2C,0xC5,0xE5,0xA3,
0x20,0x00,0x04,0x44,
0x00,0x0B,0x76,0x62,
0x19,0x8D,0x7F,0x00,
0xD9,0xA7,0xB3,0x00,
0x26,0x67,0x18,0xC3,
0xD3,0x48,0x77,0x00,
0x2C,0xC7,0xB3,0x23,
0x2C,0xCC,0x04,0x44,
0x00,0x0D,0x7F,0x22,
0x40,0x09,0xEE,0x20,
0x33,0x2A,0x22,0xA0,
0x2C,0xCC,0x9B,0x00,
0x26,0x6D,0xA4,0xE0,
0x20,0x00,0x04,0xE5,
0x00,0x00,0x02,0x0A,
0x00,0x00,0x02,0x0A,
0x20,0x00,0x04,0x24,
0x7F,0xEF,0x00,0x0D,
0x40,0x00,0x02,0xE6,
0x00,0x00,0x02,0xC6,
0x00,0x00,0x00,0x11,
0x00,0x00,0x00,0x11,
0x00,0x00,0x00,0x11,
0x00,0x00,0x00,0x11,
0x00,0x00,0x00,0x11,
0x00,0x00,0x00,0x11,
0x00,0x00,0x00,0x11,
0x00,0x00,0x00,0x11,
0x00,0x00,0x00,0x11,
0x00,0x00,0x00,0x11,
0x00,0x00,0x00,0x11,
0x00,0x00,0x00,0x11,
0x00,0x00,0x00,0x11,
0x00,0x00,0x00,0x11,
0x00,0x00,0x00,0x11,
0x00,0x00,0x00,0x11,
0x00,0x00,0x00,0x11,
0x00,0x00,0x00,0x11,
0x00,0x00,0x00,0x11,
0x00,0x00,0x00,0x11,
0x00,0x00,0x00,0x11,
0x00,0x00,0x00,0x11,
0x00,0x00,0x00,0x11,
0x00,0x00,0x00,0x11,
0x00,0x00,0x00,0x11,
0x00,0x00,0x00,0x11,
0x00,0x00,0x00,0x11,
0x00,0x00,0x00,0x11,
0x00,0x00,0x00,0x11,
0x00,0x00,0x00,0x11,
};
const uint8_t samples_03[] = {
0x80,0x20,0x00,0x11,
0x00,0xC0,0x14,0x12,
0x7F,0xEF,0x02,0x44,
0x00,0x00,0x04,0xA6,
0x40,0x00,0x02,0x44,
0x00,0x00,0x02,0x4A,
0x00,0x00,0x04,0xC6,
0x26,0x66,0x04,0x84,
0x00,0x00,0x04,0xCA,
0x20,0x00,0x02,0x84,
0x20,0x00,0x02,0xA4,
0x00,0x00,0x00,0x02,
0x40,0x00,0x02,0x24,
0x00,0x00,0x02,0x2A,
0x03,0x33,0x00,0xAD,
0x00,0x10,0x00,0x0D,
0x40,0x00,0x04,0x04,
0xBF,0xFF,0xFF,0x0E,
0x40,0x00,0x04,0x06,
0x40,0x00,0xE0,0x0D,
0x00,0x00,0x04,0x09,
0x40,0x00,0xF0,0x0D,
0x00,0x02,0x00,0x0D,
0x3F,0xFE,0x04,0x44,
0x00,0x00,0x04,0x46,
0x00,0x8A,0x00,0x0F,
0x02,0x00,0x04,0x44,
0x40,0x00,0x03,0x06,
0x00,0x00,0xFF,0x0E,
0x80,0x00,0x00,0x0D,
0x80,0x00,0x00,0x0D,
0x80,0x00,0x00,0x0D,
0x80,0x00,0x00,0x0D,
0x80,0x00,0x00,0x0D,
0x80,0x00,0x00,0x0D,
0x80,0x00,0x00,0x0D,
0x80,0x00,0x00,0x0D,
0x80,0x00,0x00,0x0D,
0x80,0x00,0x00,0x0D,
0x80,0x00,0x00,0x0D,
0x80,0x00,0x00,0x0D,
0x80,0x00,0x00,0x0D,
0x80,0x00,0x00,0x0D,
0x7F,0xFE,0x00,0x0D,
0x40,0x00,0x05,0x26,
0xC0,0x00,0x7F,0xCD,
0x00,0x00,0x05,0x06,
0x40,0x00,0x00,0x01,
0x00,0x00,0x05,0x0A,
0x00,0x00,0x05,0x46,
0x00,0x8B,0x00,0x0F,
0x02,0x00,0x04,0x44,
0x00,0x00,0x03,0x06,
0x40,0x00,0x00,0x01,
0x00,0x00,0x05,0x2A,
0x40,0x00,0x05,0x44,
0x40,0x00,0x04,0x86,
0x00,0x00,0x04,0xAA,
0x40,0x00,0x00,0x00,
0x00,0x00,0x04,0x66,
0x06,0x00,0xD6,0x54,
0x00,0x00,0xD6,0x74,
0x00,0x00,0xDC,0x82,
0x07,0x02,0x81,0x54,
0x01,0x02,0x81,0x74,
0x00,0x02,0x87,0x82,
0x0E,0x04,0x4A,0x94,
0x08,0x04,0x4A,0xB4,
0x00,0x04,0x50,0xC2,
0x0F,0x06,0x65,0x14,
0x09,0x06,0x65,0x34,
0x00,0x06,0x6B,0x42,
0x20,0x00,0x04,0x64,
0xD9,0xA0,0x52,0xE0,
0x26,0x60,0x40,0x23,
0xD9,0xA0,0x6E,0xA0,
0x26,0x60,0x53,0x03,
0xD9,0xA0,0x99,0xE0,
0x26,0x60,0x6E,0xC3,
0xD9,0xA0,0xCF,0xE0,
0x26,0x60,0x9A,0x03,
0x00,0x00,0x05,0x66,
0x19,0x8E,0x75,0x20,
0xD9,0xA1,0x60,0xA0,
0x26,0x60,0xD0,0x03,
0xD3,0x42,0x7A,0xE0,
0x2C,0xC1,0x60,0xC3,
0x20,0x00,0x05,0x64,
0x00,0x07,0xBD,0x22,
0x19,0x88,0xCD,0xA0,
0xD9,0xA3,0x72,0x40,
0x26,0x62,0x7B,0x03,
0xD3,0x44,0x44,0x20,
0x2C,0xC3,0x72,0x63,
0x20,0x00,0x05,0x64,
0x00,0x08,0xCD,0xC2,
0x19,0x8A,0xBC,0x40,
0xD9,0xA5,0x2B,0x80,
0x26,0x64,0x44,0x43,
0xD3,0x46,0x5E,0xA0,
0x2C,0xC5,0x2B,0xA3,
0x20,0x00,0x05,0x64,
0x00,0x0A,0xBC,0x62,
0x19,0x8C,0xC5,0x00,
0xD9,0xA6,0xF9,0x00,
0x26,0x66,0x5E,0xC3,
0xD3,0x47,0xBD,0x00,
0x2C,0xC6,0xF9,0x23,
0x20,0x00,0x05,0x64,
0x00,0x0C,0xC5,0x22,
0x40,0x09,0x34,0x20,
0x33,0x29,0x68,0xA0,
0x2C,0xCB,0xE1,0x00,
0x26,0x6C,0xEA,0xE0,
0x20,0x00,0x05,0x85,
0x00,0x00,0x02,0x0A,
0x00,0x00,0x02,0x0A,
0x20,0x00,0x04,0x64,
0x7F,0xEF,0x00,0x0D,
0x40,0x00,0x02,0xE6,
0x00,0x00,0x02,0xC6,
0x00,0x00,0x00,0x11,
0x00,0x00,0x00,0x11,
0x00,0x00,0x00,0x11,
0x00,0x00,0x00,0x11,
0x00,0x00,0x00,0x11,
0x00,0x00,0x00,0x11,
0x00,0x00,0x00,0x11,
};
const uint8_t samples_04[] = {
0x80,0x20,0x00,0x11,
0x00,0xC0,0x14,0x12,
0x06,0x01,0x3F,0x94,
0x00,0x01,0x3F,0xB4,
0x00,0x01,0x45,0xC2,
0x07,0x04,0x13,0x94,
0x01,0x04,0x13,0xB4,
0x00,0x04,0x19,0xC2,
0x40,0x00,0x02,0x04,
0x33,0x33,0x0C,0xCD,
0x00,0x00,0x05,0x26,
0x40,0x00,0x02,0x24,
0x33,0x33,0x99,0xAD,
0x00,0x00,0x05,0x46,
0x40,0x00,0x02,0x44,
0x33,0x33,0x99,0xAD,
0x00,0x00,0x05,0x66,
0x20,0x00,0x02,0x84,
0xE0,0x00,0x13,0x80,
0x20,0x00,0x00,0x03,
0xE0,0x00,0x2F,0x80,
0x20,0x00,0x13,0xA3,
0xE0,0x00,0x59,0x20,
0x20,0x00,0x2F,0xA3,
0xE0,0x00,0x9D,0xC0,
0x20,0x00,0x59,0x43,
0x00,0x00,0x05,0x86,
0x20,0x00,0x02,0xA4,
0xE0,0x00,0xB5,0x20,
0x20,0x00,0x9D,0xE3,
0xE0,0x00,0xD4,0xE0,
0x20,0x00,0xB5,0x43,
0xE0,0x00,0xFA,0xC0,
0x20,0x00,0xD5,0x03,
0xE0,0x01,0x39,0x20,
0x20,0x00,0xFA,0xE3,
0x00,0x00,0x05,0xA6,
0x40,0x0F,0xE7,0x80,
0x00,0x00,0x05,0x2A,
0x40,0x00,0x05,0x84,
0xD9,0xA1,0xD5,0xA0,
0x26,0x61,0x39,0x43,
0xD9,0xA2,0xB0,0xA0,
0x26,0x61,0xD5,0xC3,
0x40,0x00,0x04,0x06,
0x20,0x00,0x04,0x25,
0xC0,0x00,0x04,0x27,
0x00,0x00,0x05,0x6A,
0x40,0x00,0x04,0x04,
0x40,0x00,0x04,0x06,
0x03,0x33,0x04,0xA5,
0xC0,0x00,0x04,0xA8,
0x00,0x00,0x05,0x4A,
0x40,0x00,0x04,0x04,
0x00,0x07,0x17,0x22,
0x40,0x09,0xF3,0x80,
0x00,0x00,0x05,0x2A,
0xD9,0xA3,0x65,0x20,
0x26,0x62,0xB0,0xC3,
0xD9,0xA4,0x0D,0x20,
0x26,0x63,0x65,0x43,
0x40,0x00,0x04,0x06,
0x20,0x00,0x04,0x45,
0xC0,0x00,0x04,0x47,
0x00,0x00,0x05,0x4A,
0x40,0x00,0x04,0x04,
0x40,0x00,0x04,0x06,
0x03,0x33,0x04,0xC5,
0xC0,0x00,0x04,0xC8,
0x00,0x00,0x05,0x6A,
0x40,0x00,0x04,0x04,
0x00,0x09,0xF3,0xA2,
0x40,0x0B,0xF9,0xC0,
0x00,0x00,0x05,0x2A,
0x40,0x00,0x05,0xA4,
0xD9,0xA4,0xD3,0x00,
0x26,0x64,0x0D,0x43,
0xD9,0xA5,0xCA,0xC0,
0x26,0x64,0xD3,0x23,
0x40,0x00,0x04,0x06,
0x20,0x00,0x04,0x65,
0xC0,0x00,0x04,0x67,
0x00,0x00,0x05,0x4A,
0x40,0x00,0x04,0x04,
0x40,0x00,0x04,0x06,
0x03,0x33,0x04,0xE5,
0xC0,0x00,0x04,0xE8,
0x00,0x00,0x05,0x6A,
0x40,0x00,0x04,0x04,
0x00,0x0B,0xF9,0xE2,
0x40,0x0D,0xAC,0x60,
0x00,0x00,0x05,0x2A,
0xD9,0xA6,0x6A,0x20,
0x26,0x65,0xCA,0xE3,
0xD9,0xA7,0x17,0x00,
0x26,0x66,0x6A,0x43,
0x40,0x00,0x04,0x06,
0x20,0x00,0x04,0x85,
0xC0,0x00,0x04,0x87,
0x00,0x00,0x05,0x4A,
0x40,0x00,0x04,0x04,
0x40,0x00,0x04,0x06,
0x03,0x33,0x05,0x05,
0xC0,0x00,0x05,0x08,
0x00,0x00,0x05,0x6A,
0x40,0x00,0x04,0x04,
0x00,0x0D,0xAC,0x82,
0x60,0x08,0x5F,0xE0,
0x4C,0xCA,0xE6,0x80,
0x40,0x0D,0x89,0xE0,
0x33,0x2F,0xA2,0x80,
0x00,0x00,0x02,0xC6,
0x60,0x0C,0x8B,0x40,
0x4C,0xCF,0x4C,0xC0,
0x40,0x08,0x45,0xA0,
0x33,0x2B,0x3C,0x80,
0x00,0x00,0x02,0xE6,
0x00,0x00,0x00,0x11,
0x00,0x00,0x00,0x11,
0x00,0x00,0x00,0x11,
0x00,0x00,0x00,0x11,
0x00,0x00,0x00,0x11,
0x00,0x00,0x00,0x11,
0x00,0x00,0x00,0x11,
0x00,0x00,0x00,0x11,
0x00,0x00,0x00,0x11,
0x00,0x00,0x00,0x11,
0x00,0x00,0x00,0x11,
};
const uint8_t samples_05[] = {
0x80,0x20,0x00,0x11,
0x00,0xC0,0x14,0x12,
0x06,0x01,0x3F,0x94,
0x00,0x01,0x3F,0xB4,
0x00,0x01,0x45,0xC2,
0x07,0x03,0xBC,0x14,
0x01,0x03,0xBC,0x34,
0x00,0x03,0xC2,0x42,
0x40,0x00,0x02,0x04,
0x26,0x66,0x19,0x8D,
0x00,0x00,0x04,0x06,
0x40,0x00,0x02,0x24,
0x33,0x33,0x99,0xAD,
0x00,0x00,0x04,0x26,
0x40,0x00,0x02,0x44,
0x33,0x33,0x99,0xAD,
0x00,0x00,0x04,0x46,
0x26,0x66,0x02,0x84,
0xD9,0xA0,0x13,0x80,
0x26,0x60,0x00,0x03,
0xD9,0xA0,0x2F,0x80,
0x26,0x60,0x13,0xA3,
0x40,0x0C,0x25,0x22,
0xD9,0xA0,0x59,0x20,
0x26,0x60,0x2F,0xA3,
0xD9,0xA0,0x9D,0xC0,
0x26,0x60,0x59,0x43,
0x00,0x00,0x05,0x46,
0x26,0x66,0x02,0xA4,
0xD9,0xA0,0xB5,0x20,
0x26,0x60,0x9D,0xE3,
0xD9,0xA0,0xD4,0xE0,
0x26,0x60,0xB5,0x43,
0x40,0x0D,0x9C,0x42,
0xD9,0xA0,0xFA,0xC0,
0x26,0x60,0xD5,0x03,
0xD9,0xA1,0x39,0x20,
0x26,0x60,0xFA,0xE3,
0x00,0x00,0x05,0x66,
0x40,0x0C,0x25,0x00,
0x00,0x00,0x04,0x0A,
0x40,0x00,0x05,0x44,
0xD9,0xA1,0xD5,0xA0,
0x26,0x61,0x39,0x43,
0xE0,0x02,0x97,0xA0,
0x20,0x01,0xD5,0xC3,
0x40,0x00,0x05,0x26,
0x20,0x00,0x05,0x85,
0xC0,0x00,0x05,0x87,
0x00,0x00,0x04,0x2A,
0x40,0x00,0x05,0x24,
0x40,0x00,0x05,0x26,
0x03,0x33,0x05,0xA5,
0xC0,0x00,0x05,0xA8,
0x00,0x00,0x04,0x4A,
0x40,0x00,0x05,0x24,
0x00,0x06,0x42,0xA2,
0x40,0x07,0xA8,0x00,
0x00,0x00,0x04,0x0A,
0x40,0x00,0x05,0x64,
0xD9,0xA3,0x0D,0xA0,
0x26,0x62,0x97,0xC3,
0xE0,0x03,0xB5,0xA0,
0x20,0x03,0x0D,0xC3,
0x40,0x00,0x05,0x26,
0x20,0x00,0x05,0xC5,
0xC0,0x00,0x05,0xC7,
0x00,0x00,0x04,0x2A,
0x40,0x00,0x05,0x24,
0x40,0x00,0x05,0x26,
0x03,0x33,0x05,0xE5,
0xC0,0x00,0x05,0xE8,
0x00,0x00,0x04,0x4A,
0x40,0x00,0x05,0x24,
0x00,0x07,0xA8,0x22,
0x40,0x09,0x31,0x40,
0x00,0x00,0x04,0x0A,
0x40,0x00,0x05,0x44,
0xD9,0xA4,0x56,0x00,
0x26,0x63,0xB5,0xC3,
0xE0,0x05,0x02,0xC0,
0x20,0x04,0x56,0x23,
0x40,0x00,0x05,0x26,
0x20,0x00,0x06,0x05,
0xC0,0x00,0x06,0x07,
0x00,0x00,0x04,0x2A,
0x40,0x00,0x05,0x24,
0x40,0x00,0x05,0x26,
0x03,0x33,0x06,0x25,
0xC0,0x00,0x06,0x28,
0x00,0x00,0x04,0x4A,
0x40,0x00,0x05,0x24,
0x00,0x09,0x31,0x62,
0x40,0x0A,0x66,0xE0,
0x00,0x00,0x04,0x0A,
0x40,0x00,0x05,0x64,
0xD9,0xA5,0x95,0xA0,
0x26,0x65,0x02,0xE3,
0xE0,0x06,0x42,0x80,
0x20,0x05,0x95,0xC3,
0x40,0x00,0x05,0x26,
0x20,0x00,0x06,0x45,
0xC0,0x00,0x06,0x47,
0x00,0x00,0x04,0x2A,
0x40,0x00,0x05,0x24,
0x40,0x00,0x05,0x26,
0x03,0x33,0x06,0x65,
0xC0,0x00,0x06,0x68,
0x00,0x00,0x04,0x4A,
0x40,0x00,0x05,0x24,
0x00,0x0A,0x67,0x02,
0x33,0x27,0x8B,0x60,
0x2C,0xC8,0x9B,0x00,
0x26,0x69,0xC7,0x60,
0x20,0x0B,0x63,0x00,
0x33,0x2C,0x3B,0xA0,
0x2C,0xCC,0xBA,0x60,
0x26,0x6D,0x66,0x00,
0x20,0x0D,0x95,0x40,
0x00,0x00,0x02,0xC6,
0x33,0x29,0xC2,0xC0,
0x2C,0xCB,0x8A,0x40,
0x26,0x67,0x71,0x20,
0x20,0x08,0x74,0x00,
0x33,0x2D,0xBD,0x60,
0x2C,0xCE,0x3A,0x60,
0x26,0x6E,0xB7,0x60,
0x00,0x00,0x02,0xE6,
};
const uint8_t samples_06[] = {
0x11,0x00,0x00,0x00,
0x11,0x00,0x00,0x00,
0x11,0x00,0x00,0x00,
0x11,0x00,0x00,0x00,
0x11,0x00,0x00,0x00,
0x11,0x00,0x00,0x00,
0x11,0x00,0x00,0x00,
0x11,0x00,0x00,0x00,
0x11,0x00,0x00,0x00,
0x11,0x00,0x00,0x00,
0x11,0x00,0x00,0x00,
0x11,0x00,0x00,0x00,
0x11,0x00,0x00,0x00,
0x11,0x00,0x00,0x00,
0x11,0x00,0x00,0x00,
0x11,0x00,0x00,0x00,
0x11,0x00,0x00,0x00,
0x11,0x00,0x00,0x00,
0x11,0x00,0x00,0x00,
0x11,0x00,0x00,0x00,
0x11,0x00,0x00,0x00,
0x11,0x00,0x00,0x00,
0x11,0x00,0x00,0x00,
0x11,0x00,0x00,0x00,
0x11,0x00,0x00,0x00,
0x11,0x00,0x00,0x00,
0x11,0x00,0x00,0x00,
0x11,0x00,0x00,0x00,
0x11,0x00,0x00,0x00,
0x11,0x00,0x00,0x00,
0x11,0x00,0x00,0x00,
0x11,0x00,0x00,0x00,
0x11,0x00,0x00,0x00,
0x11,0x00,0x00,0x00,
0x11,0x00,0x00,0x00,
0x11,0x00,0x00,0x00,
0x11,0x00,0x00,0x00,
0x11,0x00,0x00,0x00,
0x11,0x00,0x00,0x00,
0x11,0x00,0x00,0x00,
0x11,0x00,0x00,0x00,
0x11,0x00,0x00,0x00,
0x11,0x00,0x00,0x00,
0x11,0x00,0x00,0x00,
0x11,0x00,0x00,0x00,
0x11,0x00,0x00,0x00,
0x11,0x00,0x00,0x00,
0x11,0x00,0x00,0x00,
0x11,0x00,0x00,0x00,
0x11,0x00,0x00,0x00,
0x11,0x00,0x00,0x00,
0x11,0x00,0x00,0x00,
0x11,0x00,0x00,0x00,
0x11,0x00,0x00,0x00,
0x11,0x00,0x00,0x00,
0x11,0x00,0x00,0x00,
0x11,0x00,0x00,0x00,
0x11,0x00,0x00,0x00,
0x11,0x00,0x00,0x00,
0x11,0x00,0x00,0x00,
0x11,0x00,0x00,0x00,
0x11,0x00,0x00,0x00,
0x11,0x00,0x00,0x00,
0x11,0x00,0x00,0x00,
0x11,0x00,0x00,0x00,
0x11,0x00,0x00,0x00,
0x11,0x00,0x00,0x00,
0x11,0x00,0x00,0x00,
0x11,0x00,0x00,0x00,
0x11,0x00,0x00,0x00,
0x11,0x00,0x00,0x00,
0x11,0x00,0x00,0x00,
0x11,0x00,0x00,0x00,
0x11,0x00,0x00,0x00,
0x11,0x00,0x00,0x00,
0x11,0x00,0x00,0x00,
0x11,0x00,0x00,0x00,
0x11,0x00,0x00,0x00,
0x11,0x00,0x00,0x00,
0x11,0x00,0x00,0x00,
0x11,0x00,0x00,0x00,
0x11,0x00,0x00,0x00,
0x11,0x00,0x00,0x00,
0x11,0x00,0x00,0x00,
0x11,0x00,0x00,0x00,
0x11,0x00,0x00,0x00,
0x11,0x00,0x00,0x00,
0x11,0x00,0x00,0x00,
0x11,0x00,0x00,0x00,
0x11,0x00,0x00,0x00,
0x11,0x00,0x00,0x00,
0x11,0x00,0x00,0x00,
0x11,0x00,0x00,0x00,
0x11,0x00,0x00,0x00,
0x11,0x00,0x00,0x00,
0x11,0x00,0x00,0x00,
0x11,0x00,0x00,0x00,
0x11,0x00,0x00,0x00,
0x11,0x00,0x00,0x00,
0x11,0x00,0x00,0x00,
0x11,0x00,0x00,0x00,
0x11,0x00,0x00,0x00,
0x11,0x00,0x00,0x00,
0x11,0x00,0x00,0x00,
0x11,0x00,0x00,0x00,
0x11,0x00,0x00,0x00,
0x11,0x00,0x00,0x00,
0x11,0x00,0x00,0x00,
0x11,0x00,0x00,0x00,
0x11,0x00,0x00,0x00,
0x11,0x00,0x00,0x00,
0x11,0x00,0x00,0x00,
0x11,0x00,0x00,0x00,
0x11,0x00,0x00,0x00,
0x11,0x00,0x00,0x00,
0x11,0x00,0x00,0x00,
0x11,0x00,0x00,0x00,
0x11,0x00,0x00,0x00,
0x11,0x00,0x00,0x00,
0x11,0x00,0x00,0x00,
0x11,0x00,0x00,0x00,
0x11,0x00,0x00,0x00,
0x11,0x00,0x00,0x00,
0x11,0x00,0x00,0x00,
0x11,0x00,0x00,0x00,
0x11,0x00,0x00,0x00,
0x11,0x00,0x00,0x00,
0x11,0x00,0x00,0x00,
};
const uint8_t samples_07[] = {
0x11,0x00,0x00,0x00,
0x11,0x00,0x00,0x00,
0x11,0x00,0x00,0x00,
0x11,0x00,0x00,0x00,
0x11,0x00,0x00,0x00,
0x11,0x00,0x00,0x00,
0x11,0x00,0x00,0x00,
0x11,0x00,0x00,0x00,
0x11,0x00,0x00,0x00,
0x11,0x00,0x00,0x00,
0x11,0x00,0x00,0x00,
0x11,0x00,0x00,0x00,
0x11,0x00,0x00,0x00,
0x11,0x00,0x00,0x00,
0x11,0x00,0x00,0x00,
0x11,0x00,0x00,0x00,
0x11,0x00,0x00,0x00,
0x11,0x00,0x00,0x00,
0x11,0x00,0x00,0x00,
0x11,0x00,0x00,0x00,
0x11,0x00,0x00,0x00,
0x11,0x00,0x00,0x00,
0x11,0x00,0x00,0x00,
0x11,0x00,0x00,0x00,
0x11,0x00,0x00,0x00,
0x11,0x00,0x00,0x00,
0x11,0x00,0x00,0x00,
0x11,0x00,0x00,0x00,
0x11,0x00,0x00,0x00,
0x11,0x00,0x00,0x00,
0x11,0x00,0x00,0x00,
0x11,0x00,0x00,0x00,
0x11,0x00,0x00,0x00,
0x11,0x00,0x00,0x00,
0x11,0x00,0x00,0x00,
0x11,0x00,0x00,0x00,
0x11,0x00,0x00,0x00,
0x11,0x00,0x00,0x00,
0x11,0x00,0x00,0x00,
0x11,0x00,0x00,0x00,
0x11,0x00,0x00,0x00,
0x11,0x00,0x00,0x00,
0x11,0x00,0x00,0x00,
0x11,0x00,0x00,0x00,
0x11,0x00,0x00,0x00,
0x11,0x00,0x00,0x00,
0x11,0x00,0x00,0x00,
0x11,0x00,0x00,0x00,
0x11,0x00,0x00,0x00,
0x11,0x00,0x00,0x00,
0x11,0x00,0x00,0x00,
0x11,0x00,0x00,0x00,
0x11,0x00,0x00,0x00,
0x11,0x00,0x00,0x00,
0x11,0x00,0x00,0x00,
0x11,0x00,0x00,0x00,
0x11,0x00,0x00,0x00,
0x11,0x00,0x00,0x00,
0x11,0x00,0x00,0x00,
0x11,0x00,0x00,0x00,
0x11,0x00,0x00,0x00,
0x11,0x00,0x00,0x00,
0x11,0x00,0x00,0x00,
0x11,0x00,0x00,0x00,
0x11,0x00,0x00,0x00,
0x11,0x00,0x00,0x00,
0x11,0x00,0x00,0x00,
0x11,0x00,0x00,0x00,
0x11,0x00,0x00,0x00,
0x11,0x00,0x00,0x00,
0x11,0x00,0x00,0x00,
0x11,0x00,0x00,0x00,
0x11,0x00,0x00,0x00,
0x11,0x00,0x00,0x00,
0x11,0x00,0x00,0x00,
0x11,0x00,0x00,0x00,
0x11,0x00,0x00,0x00,
0x11,0x00,0x00,0x00,
0x11,0x00,0x00,0x00,
0x11,0x00,0x00,0x00,
0x11,0x00,0x00,0x00,
0x11,0x00,0x00,0x00,
0x11,0x00,0x00,0x00,
0x11,0x00,0x00,0x00,
0x11,0x00,0x00,0x00,
0x11,0x00,0x00,0x00,
0x11,0x00,0x00,0x00,
0x11,0x00,0x00,0x00,
0x11,0x00,0x00,0x00,
0x11,0x00,0x00,0x00,
0x11,0x00,0x00,0x00,
0x11,0x00,0x00,0x00,
0x11,0x00,0x00,0x00,
0x11,0x00,0x00,0x00,
0x11,0x00,0x00,0x00,
0x11,0x00,0x00,0x00,
0x11,0x00,0x00,0x00,
0x11,0x00,0x00,0x00,
0x11,0x00,0x00,0x00,
0x11,0x00,0x00,0x00,
0x11,0x00,0x00,0x00,
0x11,0x00,0x00,0x00,
0x11,0x00,0x00,0x00,
0x11,0x00,0x00,0x00,
0x11,0x00,0x00,0x00,
0x11,0x00,0x00,0x00,
0x11,0x00,0x00,0x00,
0x11,0x00,0x00,0x00,
0x11,0x00,0x00,0x00,
0x11,0x00,0x00,0x00,
0x11,0x00,0x00,0x00,
0x11,0x00,0x00,0x00,
0x11,0x00,0x00,0x00,
0x11,0x00,0x00,0x00,
0x11,0x00,0x00,0x00,
0x11,0x00,0x00,0x00,
0x11,0x00,0x00,0x00,
0x11,0x00,0x00,0x00,
0x11,0x00,0x00,0x00,
0x11,0x00,0x00,0x00,
0x11,0x00,0x00,0x00,
0x11,0x00,0x00,0x00,
0x11,0x00,0x00,0x00,
0x11,0x00,0x00,0x00,
0x11,0x00,0x00,0x00,
0x11,0x00,0x00,0x00,
0x11,0x00,0x00,0x00,
0x11,0x00,0x00,0x00,
};

#endif // ROM_H_
```

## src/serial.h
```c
#ifndef SERIAL_H_
#define SERIAL_H_

int serial_init();

#endif /* SERIAL_H_ */
```

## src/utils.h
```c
#ifndef UTILS_H_
#define UTILS_H_

#define PORT(n, p) DEVICE_DT_GET(DT_PHANDLE(DT_PATH(n, p), gpios))
#define PIN(n, p) DT_PHA(DT_PATH(n, p), gpios, pin)
#define PORT_PIN(n, p) PORT(n, p), PIN(n, p)

#endif // UTILS_H_
```

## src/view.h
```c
#ifndef VIEW_H_
#define VIEW_H_

struct viewstate {
	int8_t program;
	uint8_t active;
	int8_t values[3];
	char names[3][8];
};

void draw_view(struct viewstate *state);
void view_init(void);

#endif // VIEW_H_
```
